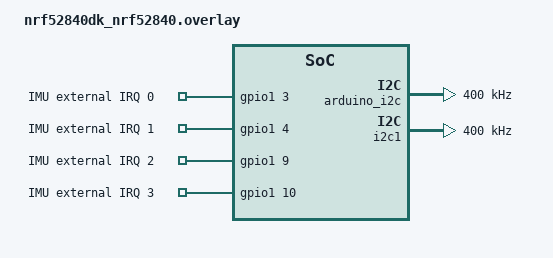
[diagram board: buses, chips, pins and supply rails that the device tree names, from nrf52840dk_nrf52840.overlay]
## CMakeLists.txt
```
cmake_minimum_required(VERSION 3.20.0)
set(BOARD nrf52840dk_nrf52840)

find_package(Zephyr REQUIRED HINTS $ENV{ZEPHYR_BASE})
project(hello_world)

set(CMAKE_BUILD_TYPE Debug)

FILE(GLOB app_sources src/*.c)
FILE(GLOB ext_drivers_sources src/ext_drivers/lsm6ds3/*.c)
FILE(GLOB services_sources src/services/*.c)
FILE(GLOB threads_sources src/threads/*.c)
target_sources(app PRIVATE ${app_sources} ${ext_drivers_sources} ${services_sources} ${threads_sources})
```

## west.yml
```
manifest:
  remotes:
    - name: ncs
      url-base: https://github.com/nrfconnect
  projects:
    - name: sdk-nrf
      remote: ncs
      path: nrf
      revision: v1.9.0
      import: true
      clone-depth: 1
  self:
    path: playground
```

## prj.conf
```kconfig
## I2C CONFIG
CONFIG_I2C=y
# CONFIG_I2C_LOG_LEVEL_DBG=y
CONFIG_I2C_NRFX=y

## LOG CONFIG
CONFIG_LOG=y
CONFIG_LOG2_MODE_IMMEDIATE=y
CONFIG_LOG_SPEED=y
# CONFIG_LOG2_ALWAYS_RUNTIME=y
CONFIG_LOG_BACKEND_UART=n
CONFIG_LOG_BACKEND_RTT=y
CONFIG_USE_SEGGER_RTT=y
CONFIG_RTT_CONSOLE=y

# CONFIG_CBPRINTF_LIBC_SUBSTS=y

## BLUETOOTH CONFIG
CONFIG_BT=y
# CONFIG_BT_DEBUG_LOG=y
# CONFIG_BT_DEBUG_MONITOR_RTT=y
CONFIG_BT_PERIPHERAL=y
CONFIG_BT_DEVICE_NAME="P2PSRV1"
CONFIG_BT_GATT_CLIENT=y
CONFIG_BT_RX_STACK_SIZE=2048

CONFIG_BT_BUF_ACL_TX_SIZE=251
CONFIG_BT_BUF_ACL_TX_COUNT=4
CONFIG_BT_BUF_ACL_RX_SIZE=251

CONFIG_BT_CTLR_SDC_LLPM=y
CONFIG_BT_BUF_EVT_RX_SIZE=251
CONFIG_BT_BUF_EVT_DISCARDABLE_SIZE=251
CONFIG_BT_BUF_CMD_TX_SIZE=251
CONFIG_BT_L2CAP_TX_MTU=251
CONFIG_BT_ATT_PREPARE_COUNT=2
CONFIG_BT_CTLR_DATA_LENGTH_MAX=251

CONFIG_BT_MAX_CONN=2

## WORKQUE CONFIG
CONFIG_SYSTEM_WORKQUEUE_NO_YIELD=n
CONFIG_SYSTEM_WORKQUEUE_PRIORITY=-2

## DMA CONFIG
CONFIG_DMA=y
CONFIG_DMA_DW=y

CONFIG_PM=n
##########################################
```

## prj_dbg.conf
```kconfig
## DEBUG CONFIG
CONFIG_DEBUG_THREAD_INFO=y
CONFIG_DEBUG_OPTIMIZATIONS=y
CONFIG_DEBUG_INFO=y
# CONFIG_THREAD_RUNTIME_STATS_USE_TIMING_FUNCTIONS=y
# CONFIG_THREAD_ANALYZER=y
# CONFIG_THREAD_ANALYZER_AUTO=y
# CONFIG_THREAD_ANALYZER_AUTO_INTERVAL=10
# CONFIG_THREAD_ANALYZER_USE_LOG=y

## I2C CONFIG
CONFIG_I2C=y
# CONFIG_I2C_LOG_LEVEL_DBG=y
CONFIG_I2C_NRFX=y

CONFIG_LOG=y
CONFIG_LOG2_MODE_IMMEDIATE=y
CONFIG_LOG_SPEED=y
# CONFIG_LOG2_ALWAYS_RUNTIME=y
CONFIG_LOG_BACKEND_UART=n
CONFIG_LOG_BACKEND_RTT=y
CONFIG_USE_SEGGER_RTT=y
CONFIG_RTT_CONSOLE=y

# CONFIG_CBPRINTF_LIBC_SUBSTS=y

## BLUETOOTH CONFIG
CONFIG_BT=y
CONFIG_BT_DEBUG_LOG=y
# CONFIG_BT_DEBUG_MONITOR_RTT=y
CONFIG_BT_PERIPHERAL=y
CONFIG_BT_DEVICE_NAME="P2PSRV1"
CONFIG_BT_GATT_CLIENT=y
CONFIG_BT_RX_STACK_SIZE=2048

CONFIG_BT_BUF_ACL_TX_SIZE=251
CONFIG_BT_BUF_ACL_TX_COUNT=4
CONFIG_BT_BUF_ACL_RX_SIZE=251

CONFIG_BT_CTLR_SDC_LLPM=y
CONFIG_BT_BUF_EVT_RX_SIZE=251
CONFIG_BT_BUF_EVT_DISCARDABLE_SIZE=251
CONFIG_BT_BUF_CMD_TX_SIZE=251
CONFIG_BT_L2CAP_TX_MTU=251
CONFIG_BT_ATT_PREPARE_COUNT=2
CONFIG_BT_CTLR_DATA_LENGTH_MAX=251

CONFIG_BT_MAX_CONN=2

## WORKQUE CONFIG
CONFIG_SYSTEM_WORKQUEUE_NO_YIELD=n
CONFIG_SYSTEM_WORKQUEUE_PRIORITY=-2

## DMA CONFIG
CONFIG_DMA=y
CONFIG_DMA_DW=y
##########################################
```

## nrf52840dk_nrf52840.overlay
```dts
// To get started, press Ctrl+Space to bring up the completion menu and view the available nodes.
// For more help, browse the DeviceTree documentation at https://docs.zephyrproject.org/latest/guides/dts/index.html

&arduino_i2c {
    compatible = "nordic,nrf-twim";
    clock-frequency = <I2C_BITRATE_FAST>;
    status = "okay";
};

&i2c1 {
    compatible = "nordic,nrf-twim";
    clock-frequency = <I2C_BITRATE_FAST>;
    status = "okay";
};

&pwm0 {
    status = "disabled";
};

&spi1 {
    status = "disabled";
};

&qspi {
    status = "disabled";
};

&arduino_spi {
    status = "disabled";
};

&gpiote {
    interrupts = <6 1>;
};

/ {
    imus_irq {
        compatible = "gpio-keys";
        imu_0: imu_0 {
            gpios = <&gpio1 3 (GPIO_PUSH_PULL | GPIO_ACTIVE_HIGH)>;
            label = "IMU external IRQ 0";
        };
        imu_1: imu_1 {
            gpios = <&gpio1 4 (GPIO_PUSH_PULL | GPIO_ACTIVE_HIGH)>;
            label = "IMU external IRQ 1";
        };
        imu_2: imu_2 {
            gpios = <&gpio1 9 (GPIO_PUSH_PULL | GPIO_ACTIVE_HIGH)>;
            label = "IMU external IRQ 2";
        };
        imu_3: imu_3 {
            gpios = <&gpio1 10 (GPIO_PUSH_PULL | GPIO_ACTIVE_HIGH)>;
            label = "IMU external IRQ 3";
        };
    };
};
```

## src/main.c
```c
#include <errno.h>
#include <stdio.h>
#include <string.h>
#include <logging/log.h>
#include <zephyr.h>
#include <device.h>
#include <drivers/i2c.h>
// #include <zephyr/modules/segger>

// BT APP INC
#include <zephyr/types.h>
#include <stddef.h>
#include <errno.h>
#include <sys/printk.h>
#include <sys/byteorder.h>
#include <drivers/gpio.h>
#include <bluetooth/bluetooth.h>
#include <bluetooth/hci.h>
#include <bluetooth/conn.h>
#include <bluetooth/uuid.h>
#include <bluetooth/gatt.h>
// BT APP INC END

#include "services/button_svc.h"
#include "services/led_svc.h"
#include "services/irq_svc.h"
#include "services/imu_svc.h"
#include "threads/meas_thd.h"

#define IMU_0 "imu_0"
#define IMU_0_HIGH IMU_0 + "_HIGH"
#define IMU_1 "imu_0"
#define IMU_1_HIGH IMU_1 + "_HIGH"
#define IMU_SENSOR_AMOUNT NUMBER_OF_EIRQ

LOG_MODULE_REGISTER(MAIN_MODULE, 4);

void notify_bt_acc(sensor_t *, uint8_t *, uint16_t);

extern sensor_t *imu_sensor_list[NUMBER_OF_EIRQ];
extern atomic_t imu_drdy_flag;

// |--STM device write/read handlers---
#pragma region STM_device_handlers
int32_t platform_write_high(void *i2c_dev, uint8_t reg, const uint8_t *bufp, uint16_t len)
{
	return i2c_burst_write(i2c_dev, LSM6DS3_I2C_ADD_H, reg, bufp, len);
}
int32_t platform_read_high(void *i2c_dev, uint8_t reg, uint8_t *bufp, uint16_t len)
{
	return i2c_burst_read(i2c_dev, LSM6DS3_I2C_ADD_H, reg, bufp, len);
}

int32_t platform_write(void *i2c_dev, uint8_t reg, const uint8_t *bufp, uint16_t len)
{
	return i2c_burst_write(i2c_dev, LSM6DS3_I2C_ADD_L, reg, bufp, len);
}
int32_t platform_read(void *i2c_dev, uint8_t reg, uint8_t *bufp, uint16_t len)
{
	return i2c_burst_read(i2c_dev, LSM6DS3_I2C_ADD_L, reg, bufp, len);
}
#pragma endregion
// ---STM device write/read handlers--|

// |--I2C device definition---
#pragma region I2C_device_definition
const struct device *i2c0_dev = DEVICE_DT_GET(DT_NODELABEL(i2c0));
const struct device *i2c1_dev = DEVICE_DT_GET(DT_NODELABEL(i2c1));
#pragma endregion
// ---I2C device definition--|

// |--BLUETOOTH---
#pragma region BLUETOOTH

/* Prototype */
static ssize_t on_receive(struct bt_conn *conn,
						  const struct bt_gatt_attr *attr, const void *buf,
						  uint16_t len, uint16_t offset, uint8_t flags);
// static ssize_t on_sent(struct bt_conn *conn,
// 					const struct bt_gatt_attr *attr, const void *buf,
// 					uint16_t len, uint16_t offset);

/* Custom Service  */
static struct bt_uuid_128 primary_service_uuid = BT_UUID_INIT_128(
	BT_UUID_128_ENCODE(0x0000fe40, 0xcc7a, 0x482a, 0x984a, 0x7f2ed5b3e58f));

/* RX service */
static struct bt_uuid_128 rx_char_uuid = BT_UUID_INIT_128(
	BT_UUID_128_ENCODE(0x0000fe41, 0x8e22, 0x4541, 0x9d4c, 0x21edae82ed19));

/* IMU Notify service */
static struct bt_uuid_128 tx_char_uuid = BT_UUID_INIT_128(
	BT_UUID_128_ENCODE(0x0000fe42, 0x8e22, 0x4541, 0x9d4c, 0x21edae82ed19));

#define DEVICE_NAME CONFIG_BT_DEVICE_NAME
#define DEVICE_NAME_LEN (sizeof(DEVICE_NAME) - 1)
#define ADV_LEN 12

/* Advertising data */
static uint8_t manuf_data[ADV_LEN] = {
	0x01 /*SKD version */,
	0x83 /* STM32WB - P2P Server 1 */,
	0x00 /* GROUP A Feature  */,
	0x00 /* GROUP A Feature */,
	0x00 /* GROUP B Feature */,
	0x00 /* GROUP B Feature */,
	0x00, /* BLE MAC start -MSB */
	0x00,
	0x00,
	0x00,
	0x00,
	0x00, /* BLE MAC stop */
};

static const struct bt_data ad[] = {
	BT_DATA_BYTES(BT_DATA_FLAGS, (BT_LE_AD_GENERAL | BT_LE_AD_NO_BREDR)),
	BT_DATA(BT_DATA_NAME_COMPLETE, DEVICE_NAME, DEVICE_NAME_LEN),
	BT_DATA(BT_DATA_MANUFACTURER_DATA, manuf_data, ADV_LEN)};

/* BLE connection */
struct bt_conn *conn;

/* Notification and Indication state */
volatile bool notify_enable;
// volatile bool indicate_enable;

static void mpu_ccc_cfg_changed(const struct bt_gatt_attr *attr, uint16_t value)
{
	ARG_UNUSED(attr);
	notify_enable = (value == BT_GATT_CCC_NOTIFY);
	// indicate_enable = (value == BT_GATT_CCC_INDICATE;
	LOG_INF("Notification %s", notify_enable ? "enabled" : "disabled");
	// LOG_INF("Indication %s", indicate_enable ? "enabled" : "disabled");
}

/* BLE Sensor GATT services and characteristic */
#define TX_DATA_BUFFER_SIZE 250
volatile uint8_t tx_buffer[TX_DATA_BUFFER_SIZE] = {0xAA, 0xBB, 0xCC, 0xCD, 0xBC, 0xAB};
static uint8_t msgCounter[4];
BT_GATT_SERVICE_DEFINE(stsensor_svc,
					   BT_GATT_PRIMARY_SERVICE(&primary_service_uuid),
					   BT_GATT_CHARACTERISTIC(&rx_char_uuid.uuid,
											  BT_GATT_CHRC_WRITE_WITHOUT_RESP,
											  BT_GATT_PERM_READ | BT_GATT_PERM_WRITE,
											  NULL, on_receive, NULL),
					   BT_GATT_CHARACTERISTIC(&tx_char_uuid.uuid, BT_GATT_CHRC_NOTIFY,
											  BT_GATT_PERM_READ, NULL, NULL, NULL),
					   BT_GATT_CCC(mpu_ccc_cfg_changed, BT_GATT_PERM_READ | BT_GATT_PERM_WRITE), );

void print_array(char *dest_hex, uint8_t* dest_raw, const uint8_t *src, uint16_t len)
{
	for (uint16_t i = 0; i < len; ++i)
	{
		char hex_byte[3];
		sprintf(hex_byte, "%2X", src[i]);
		strcat(dest_hex, hex_byte);
		dest_raw[i] = src[i];
	}
	dest_raw[len] = 0;
	strcat(dest_hex, "\0");
}

static ssize_t on_receive(struct bt_conn *conn,
						  const struct bt_gatt_attr *attr, const void *buf,
						  uint16_t len, uint16_t offset, uint8_t flags)
{
	uint8_t buffer[len+1];
	char data[2*len+1];
	static bool isFifo = false;
	memset(data,0,len);
	memset(buffer,0,len);
	print_array(data, buffer, (uint8_t *)buf, len);
	LOG_DBG("Received BT %u bytes with offset %u:\nHEX: %s\nRAW: %s", len, offset, data, buffer);
	if ((strcmp(buffer, "START") == 0 && !isFifo) || (strcmp(buffer, "STOP") == 0 && isFifo))
	{
		extern struct k_work toggle_imu_fifo;
		k_work_submit(&toggle_imu_fifo);
		led_update(0);
		if(isFifo)
		{
			memset(msgCounter,0,4*sizeof(uint8_t));
			isFifo = false;
		}
		else
		{
			isFifo = true;
		}
		// isFifo = isFifo ? false : true;
	}
	return 0;
}

// static ssize_t on_sent(struct bt_conn *conn,
// 					const struct bt_gatt_attr *attr, const void *buf,
// 					uint16_t len, uint16_t offset)
// {
// 	const uint8_t *value = attr->user_data;
// 	// char array[2 * CONFIG_BT_CTLR_DATA_LENGTH_MAX + 1] = "";
// 	const uint8_t *buffer = buf;
// 	char data[len];
// 	print_array(data, value, len);
// 	LOG_DBG("SEND %s", data);
// 	// LOG_DBG("send %s",print_array(array,(uint8_t*)buf,len,0));

// 	return bt_gatt_attr_read(conn, attr, buf, len, offset, data,
// 							 strlen(data));
// }

static void bt_ready(int err)
{
	if (err)
	{
		LOG_ERR("Bluetooth init failed (err %d)", err);
		return;
	}
	LOG_INF("Bluetooth initialized");
	/* Start advertising */
	err = bt_le_adv_start(BT_LE_ADV_CONN, ad, ARRAY_SIZE(ad), NULL, 0);
	if (err)
	{
		LOG_ERR("Advertising failed to start (err %d)", err);
		return;
	}

	LOG_INF("Configuration mode: waiting connections...");
}

static void connected(struct bt_conn *connected, uint8_t err)
{
	if (err)
	{
		LOG_ERR("Connection failed (err %u)", err);
	}
	else
	{
		LOG_INF("Connected");
		if (!conn)
		{
			conn = bt_conn_ref(connected);
		}

		led_update(1);
	}
}

static void disconnected(struct bt_conn *disconn, uint8_t reason)
{
	if (conn)
	{
		bt_conn_unref(conn);
		conn = NULL;
	}

	LOG_INF("Disconnected (reason %u)", reason);
	led_update(1);
}

static void le_param_updated(struct bt_conn *conn, uint16_t interval, uint16_t latency, uint16_t timeout)
{
	struct bt_conn_info info;
	char addr[BT_ADDR_LE_STR_LEN];

	if (bt_conn_get_info(conn, &info))
	{
		LOG_ERR("Could not parse connection info");
	}
	else
	{
		bt_addr_le_to_str(bt_conn_get_dst(conn), addr, sizeof(addr));

		LOG_INF("Connection parameters updated!	\n\
		Connected to: %s						\n\
		New Connection Interval: %u				\n\
		New Slave Latency: %u					\n\
		New Connection Supervisory Timeout: %u	\n",
				addr, info.le.interval, info.le.latency, info.le.timeout);
	}
}

void notify_bt_acc(sensor_t *sensor, uint8_t *data_arr, uint16_t size)
{
	int err;
	if (conn)
	{
		if (notify_enable)
		{
			uint8_t imuId = 0;

			if (strcmp(sensor->name,"IMU_LEFT_THIGH") == 0)
			{
				imuId = 0x1;
			}
			else if (strcmp(sensor->name,"IMU_LEFT_CALF") == 0)
			{
				imuId = 0x2;
			}
			else if (strcmp(sensor->name,"IMU_RIGHT_THIGH") == 0)
			{
				imuId = 0x3;
			}
			else if (strcmp(sensor->name,"IMU_RIGHT_CALF") == 0)
			{
				imuId = 0x4;
			}

			if (imuId == 0)
			{
				LOG_ERR("Notification failed with invalid imuId: %u", imuId);
				return;
			}

			memset(tx_buffer, 0, TX_DATA_BUFFER_SIZE);
			if (size + 2 <= TX_DATA_BUFFER_SIZE)
			{
				tx_buffer[0] = imuId;
				tx_buffer[1] = msgCounter[imuId - 1];
				memcpy(tx_buffer + 2, data_arr, size * sizeof(uint8_t));
			}
			else
			{
				LOG_ERR("Notification failed with requested msg size = %u too big for the tx_buffer", size);
				return;
			}
			
			const struct bt_gatt_attr *attr = &stsensor_svc.attrs[4]; 

			struct bt_gatt_notify_params params = 
			{
				.uuid   = &tx_char_uuid.uuid,
				.attr   = attr,
				.data   = tx_buffer,
				.len    = size+2,
				.func   = NULL
			};

			err = bt_gatt_notify_cb(conn, &params);


			if (err)
			{
				LOG_ERR("Notify error: %d", err);
			}
			else
			{
				++msgCounter[imuId - 1];
			}
		}
		else
		{
			LOG_INF("Notify not enabled");
		}
	}
}

BT_CONN_CB_DEFINE(conn_callbacks) = {
	.connected = connected,
	.disconnected = disconnected,
	.le_param_updated = le_param_updated,
};

void att_mtu_updated_cb(struct bt_conn *conn, uint16_t tx, uint16_t rx)
{
	char addr[BT_ADDR_LE_STR_LEN];
	bt_addr_le_to_str(bt_conn_get_dst(conn), addr, sizeof(addr));
	LOG_INF("MTU updated!	\n\
	Connected to:\t%s		\n\
	TX MTU:\t%u				\n\
	RX MTU:\t%u				\n",
			addr, tx, rx);
}

static struct bt_gatt_cb gatt_cb = {
	.att_mtu_updated = att_mtu_updated_cb
};
#pragma endregion
// ---BLUETOOTH--|

// |--MAIN---
#pragma region MAIN
void main(void)
{
	static stmdev_ctx_t dev_ctx_0_high, dev_ctx_0, dev_ctx_1_high, dev_ctx_1;

	dev_ctx_0_high.write_reg = platform_write_high;
	dev_ctx_0_high.read_reg = platform_read_high;
	dev_ctx_0_high.handle = i2c0_dev;
	static sensor_t imu_lt = {.stm_dev = &dev_ctx_0_high, .name = "IMU_LEFT_THIGH", .fifo_pattern_counter = 0, .settling_counter = 0};
	dev_ctx_0.write_reg = platform_write;
	dev_ctx_0.read_reg = platform_read;
	dev_ctx_0.handle = i2c0_dev;
	static sensor_t imu_lc = {.stm_dev = &dev_ctx_0, .name = "IMU_LEFT_CALF", .fifo_pattern_counter = 0, .settling_counter = 0};

	dev_ctx_1_high.write_reg = platform_write_high;
	dev_ctx_1_high.read_reg = platform_read_high;
	dev_ctx_1_high.handle = i2c1_dev;
	static sensor_t imu_rt = {.stm_dev = &dev_ctx_1_high, .name = "IMU_RIGHT_THIGH", .fifo_pattern_counter = 0, .settling_counter = 0};

	dev_ctx_1.write_reg = platform_write;
	dev_ctx_1.read_reg = platform_read;
	dev_ctx_1.handle = i2c1_dev;
	static sensor_t imu_rc = {.stm_dev = &dev_ctx_1, .name = "IMU_RIGHT_CALF", .fifo_pattern_counter = 0, .settling_counter = 0};

	imu_sensor_list[0] = &imu_lt;
	imu_sensor_list[1] = &imu_lc;
	imu_sensor_list[2] = &imu_rt;
	imu_sensor_list[3] = &imu_rc;

	if (!device_is_ready(i2c0_dev))
	{
		LOG_ERR("I2C: Device i2c0 is not ready.");
		return;
	}
	else if (!device_is_ready(i2c1_dev))
	{
		LOG_ERR("I2C: Device i2c1 is not ready.");
		return;
	}

	LOG_INF("Resetting all sensors");
	reset_all_imus();
	setup_all_imus();
	read_slow_all_imus();

	LOG_INF("Starting system");
	k_msleep(1000);

	// BT APP
	int err;

	err = button_init(button_callback);
	if (err)
	{
		return;
	}

	err = led_init();
	if (err)
	{
		return;
	}
	k_msleep(1000);
	/* Initialize the Bluetooth Subsystem */
	err = bt_enable(bt_ready);
	if (err)
	{
		LOG_ERR("Bluetooth init failed (err %d)", err);
	}

	bt_gatt_cb_register(&gatt_cb);

	err = eirq_init(imu_irq_triggered);
	if (err)
	{
		return;
	}
}
#pragma endregion
// ---MAIN--|
```
